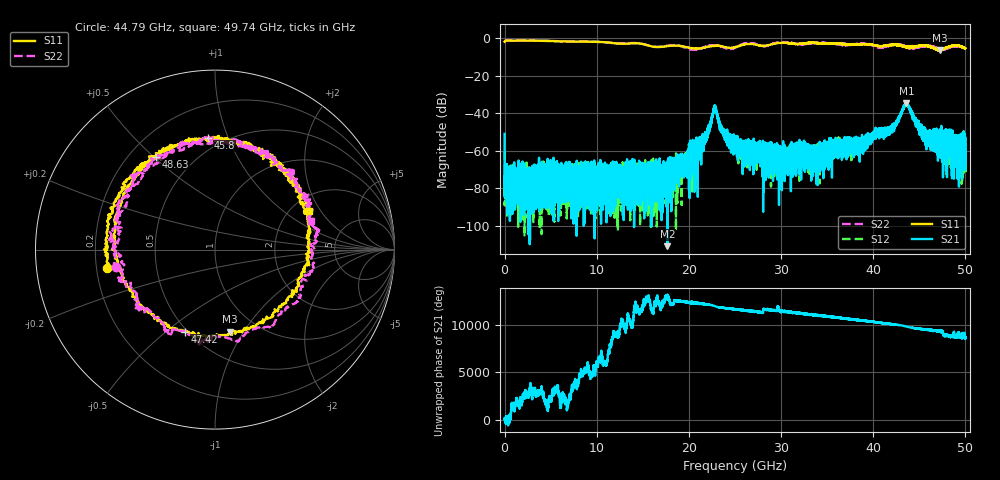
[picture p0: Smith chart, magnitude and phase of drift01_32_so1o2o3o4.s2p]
!Created with skrf (http://scikit-rf.org).
# Hz S RI R 50.0
!freq ReS11 ImS11 ReS21 ImS21 ReS12 ImS12 ReS22 ImS22
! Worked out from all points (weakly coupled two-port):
!   10001 points, 300 kHz to 50 GHz, reference 50 ohm
!   highest |S21| = -34.55 dB at 43.61 GHz (marker M1); lowest = -110.7 dB at 17.67 GHz (marker M2)
!   lowest |S11| = -6.6 dB at 47.21 GHz (marker M3), VSWR 2.74, Z = 37.3 - j43.6 ohm
!   |S11| at or under -10 dB: nowhere
!   |S22| runs from -6.4 to -1.4 dB; largest |S21 - S12| = 0.0036
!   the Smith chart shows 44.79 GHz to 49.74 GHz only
!   S11 on the Smith chart (normalised r, x): 44.79 GHz: 0.25, -0.08; 45.8 GHz: 0.42, +0.85; 47.42 GHz: 0.48, -0.58; 48.63 GHz: 0.31, +0.51; 49.74 GHz: 2.48, +1.57
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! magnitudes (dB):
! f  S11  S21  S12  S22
! 300 kHz  -2.1  -51.0  -60.5  -2.1
! 270.3 MHz  -1.4  -79.2  -78.8  -1.4
! 8.335 GHz  -2.0  -75.1  -86.4  -1.8
! 16.67 GHz  -4.8  -72.5  -70.9  -4.8
! 17.67 GHz  -4.4  -110.7  -71.4  -4.2
! 21.13 GHz  -5.6  -61.9  -57.3  -5.9
! 22.79 GHz  -4.3  -36.4  -36.0  -4.0
! 23.8 GHz  -4.7  -48.7  -52.4  -5.0
! 25 GHz  -5.0  -56.2  -60.8  -5.1
! 29.63 GHz  -2.7  -73.3  -64.9  -2.5
! 31.72 GHz  -3.3  -65.1  -58.1  -3.2
! 33.34 GHz  -2.6  -63.0  -58.0  -2.7
! 38.5 GHz  -3.4  -56.2  -57.4  -3.2
! 41.67 GHz  -3.9  -49.3  -49.1  -4.2
! 43.61 GHz  -4.7  -34.6  -35.1  -4.8
! 44.79 GHz  -4.3  -44.9  -45.8  -5.0
! 45.8 GHz  -4.1  -51.2  -51.7  -4.2
! 47.21 GHz  -6.6  -56.2  -55.7  -5.8
! 47.42 GHz  -6.2  -50.2  -53.7  -5.6
! 48.63 GHz  -4.3  -56.4  -55.8  -4.7
! 49.74 GHz  -4.9  -54.8  -55.9  -5.1
! 50 GHz  -5.6  -53.4  -61.7  -5.4
